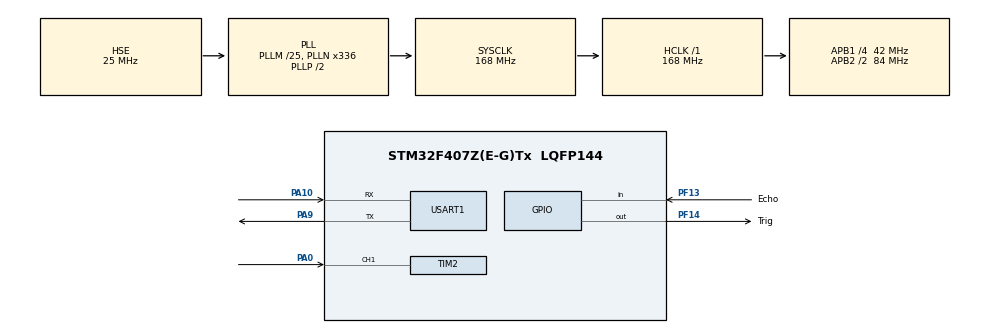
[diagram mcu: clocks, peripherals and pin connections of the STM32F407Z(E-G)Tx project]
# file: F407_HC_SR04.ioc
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Mcu.Family=STM32F4
RCC.PLLSourceVirtual=RCC_PLLSOURCE_HSE
PH0-OSC_IN.Signal=RCC_OSC_IN
RCC.CortexFreq_Value=168000000
TIM2.Channel-Input_Capture1_from_TI1=TIM_CHANNEL_1
PA10.Mode=Asynchronous
PF14.GPIO_Label=Trig
RCC.APB1CLKDivider=RCC_HCLK_DIV4
PF13.GPIO_Label=Echo
RCC.SYSCLKSource=RCC_SYSCLKSOURCE_PLLCLK
ProjectManager.StackSize=0x400
PA0-WKUP.Signal=S_TIM2_CH1_ETR
VP_TIM7_VS_ClockSourceINT.Mode=Enable_Timer
PA13.Signal=SYS_JTMS-SWDIO
PA9.Mode=Asynchronous
ProjectManager.TargetToolchain=STM32CubeIDE
RCC.HCLKFreq_Value=168000000
RCC.APB2TimFreq_Value=168000000
PA9.Signal=USART1_TX
RCC.LSE_VALUE=32768
RCC.AHBFreq_Value=168000000
PH0-OSC_IN.Mode=HSE-External-Oscillator
PF14.GPIO_Speed=GPIO_SPEED_FREQ_HIGH
RCC.HSE_VALUE=25000000
TIM7.Prescaler=42-1
board=custom
RCC.VCOOutputFreq_Value=336000000
RCC.APB2Freq_Value=84000000
VP_TIM2_VS_ClockSourceINT.Mode=Internal
PA14.Mode=Serial_Wire
PH1-OSC_OUT.Signal=RCC_OSC_OUT
PF13.Signal=GPIO_Input
PA13.Mode=Serial_Wire
Mcu.Name=STM32F407Z(E-G)Tx
PH1-OSC_OUT.Mode=HSE-External-Oscillator
RCC.48MHZClocksFreq_Value=84000000
RCC.SYSCLKFreq_VALUE=168000000
Mcu.Package=LQFP144
TIM2.Prescaler=84-1
USART1.VirtualMode=VM_ASYNC
SH.S_TIM2_CH1_ETR.0=TIM2_CH1,Input_Capture1_from_TI1
PA10.Signal=USART1_RX
PA14.Signal=SYS_JTCK-SWCLK
ProjectManager.HeapSize=0x200
RCC.HSI_VALUE=16000000
NVIC.PriorityGroup=NVIC_PRIORITYGROUP_4
RCC.APB2CLKDivider=RCC_HCLK_DIV2
RCC.PLLM=25
RCC.PLLN=336
PF14.Signal=GPIO_Output
RCC.APB1TimFreq_Value=84000000
RCC.APB1Freq_Value=42000000

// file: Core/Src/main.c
/* USER CODE BEGIN Header */
/**
 ******************************************************************************
 * @file           : main.c
 * @brief          : Main program body
 ******************************************************************************
 * @attention
 *
 * <h2><center>&copy; Copyright (c) 2021 STMicroelectronics.
 * All rights reserved.</center></h2>
 *
 * This software component is licensed by ST under BSD 3-Clause license,
 * the "License"; You may not use this file except in compliance with the
 * License. You may obtain a copy of the License at:
 *                        opensource.org/licenses/BSD-3-Clause
 *
 ******************************************************************************
 */
/* USER CODE END Header */
#include "main.h"
#include "tim.h"
#include "usart.h"
#include "gpio.h"

/* USER CODE BEGIN Includes */
#include "hc_sr04.h"
/* USER CODE END Includes */

void SystemClock_Config(void);

int main(void)
{
  /* USER CODE BEGIN 1 */
	int ret;
	hc_sr04_device_t hc_sr04;
  /* USER CODE END 1 */

  /* MCU Configuration--------------------------------------------------------*/

  /* Reset of all peripherals, Initializes the Flash interface and the Systick. */
  HAL_Init();

  /* Configure the system clock */
  SystemClock_Config();

  /* Initialize all configured peripherals */
  MX_GPIO_Init();
  MX_USART1_UART_Init();
  MX_TIM2_Init();
  MX_TIM7_Init();
  /* USER CODE BEGIN 2 */
	HC_SR04_Init(&hc_sr04);
	printf("starting.....");
  /* USER CODE END 2 */

  /* Infinite loop */
  /* USER CODE BEGIN WHILE */
	while (1) {
		ret = HC_SR04_Measure(&hc_sr04);
		if (ret < 0) {
			printf("measure fail\r\n");
		}
		printf("distance:%.2f cm\r\n", hc_sr04.distance);

		delay_ms(1000);
    /* USER CODE END WHILE */

	}
}

void SystemClock_Config(void)
{
  RCC_OscInitTypeDef RCC_OscInitStruct = {0};
  RCC_ClkInitTypeDef RCC_ClkInitStruct = {0};

  /** Configure the main internal regulator output voltage
  */
  __HAL_RCC_PWR_CLK_ENABLE();
  __HAL_PWR_VOLTAGESCALING_CONFIG(PWR_REGULATOR_VOLTAGE_SCALE1);
  /** Initializes the RCC Oscillators according to the specified parameters
  * in the RCC_OscInitTypeDef structure.
  */
  RCC_OscInitStruct.OscillatorType = RCC_OSCILLATORTYPE_HSE;
  RCC_OscInitStruct.HSEState = RCC_HSE_ON;
  RCC_OscInitStruct.PLL.PLLState = RCC_PLL_ON;
  RCC_OscInitStruct.PLL.PLLSource = RCC_PLLSOURCE_HSE;
  RCC_OscInitStruct.PLL.PLLM = 25;
  RCC_OscInitStruct.PLL.PLLN = 336;
  RCC_OscInitStruct.PLL.PLLP = RCC_PLLP_DIV2;
  RCC_OscInitStruct.PLL.PLLQ = 4;
  if (HAL_RCC_OscConfig(&RCC_OscInitStruct) != HAL_OK)
  {
    Error_Handler();
  }
  /** Initializes the CPU, AHB and APB buses clocks
  */
  RCC_ClkInitStruct.ClockType = RCC_CLOCKTYPE_HCLK|RCC_CLOCKTYPE_SYSCLK
                              |RCC_CLOCKTYPE_PCLK1|RCC_CLOCKTYPE_PCLK2;
  RCC_ClkInitStruct.SYSCLKSource = RCC_SYSCLKSOURCE_PLLCLK;
  RCC_ClkInitStruct.AHBCLKDivider = RCC_SYSCLK_DIV1;
  RCC_ClkInitStruct.APB1CLKDivider = RCC_HCLK_DIV4;
  RCC_ClkInitStruct.APB2CLKDivider = RCC_HCLK_DIV2;

  if (HAL_RCC_ClockConfig(&RCC_ClkInitStruct, FLASH_LATENCY_5) != HAL_OK)
  {
    Error_Handler();
  }
}

/* USER CODE BEGIN 4 */
// 须在头文件中添加 #include <stdio.h>

//////////////////////////////////////////////////////////////////
// 加入以下代码,支持printf函数,而不需要选择use MicroLIB
// MDK中同样定义了 __GNUC__，使用__ARMCC_VERSION 或  __CC_ARM 区分MDK和STM32CubeIDE
// MDK预定义宏，详见 ：https://www.keil.com/support/man/docs/armcc/armcc_chr1359125007083.htm

#ifdef __CC_ARM // 或 #ifdef __ARMCC_VERSION
  #define PUTCHAR_PROTOTYPE int fputc(int ch, FILE *f)
#else
  #define PUTCHAR_PROTOTYPE int __io_putchar(int ch)
#endif
#if 1

FILE __stdout;
//定义_sys_exit()以避免使用半主机模式
void _sys_exit(int x) {
  x = x;
}
//重定义fputc函数
PUTCHAR_PROTOTYPE {
  // 具体哪个串口可以更改huart2为其它串口
   HAL_UART_Transmit(&huart1, (uint8_t *)&ch, 1 , 0xffff);
//  while ((USART1->SR & 0X40) == 0) {
//  }; //循环发送,直到发送完毕
//  USART1->DR = (uint8_t) ch;

//  while ((USART2->SR & 0X40) == 0) {
//  }; //循环发送,直到发送完毕
//  USART2->DR = (uint8_t) ch;

  return ch;
}
#endif

/* USER CODE END 4 */

void Error_Handler(void)
{
	__disable_irq();
	while (1) {
	}
}

/************************ (C) COPYRIGHT STMicroelectronics *****END OF FILE****/
